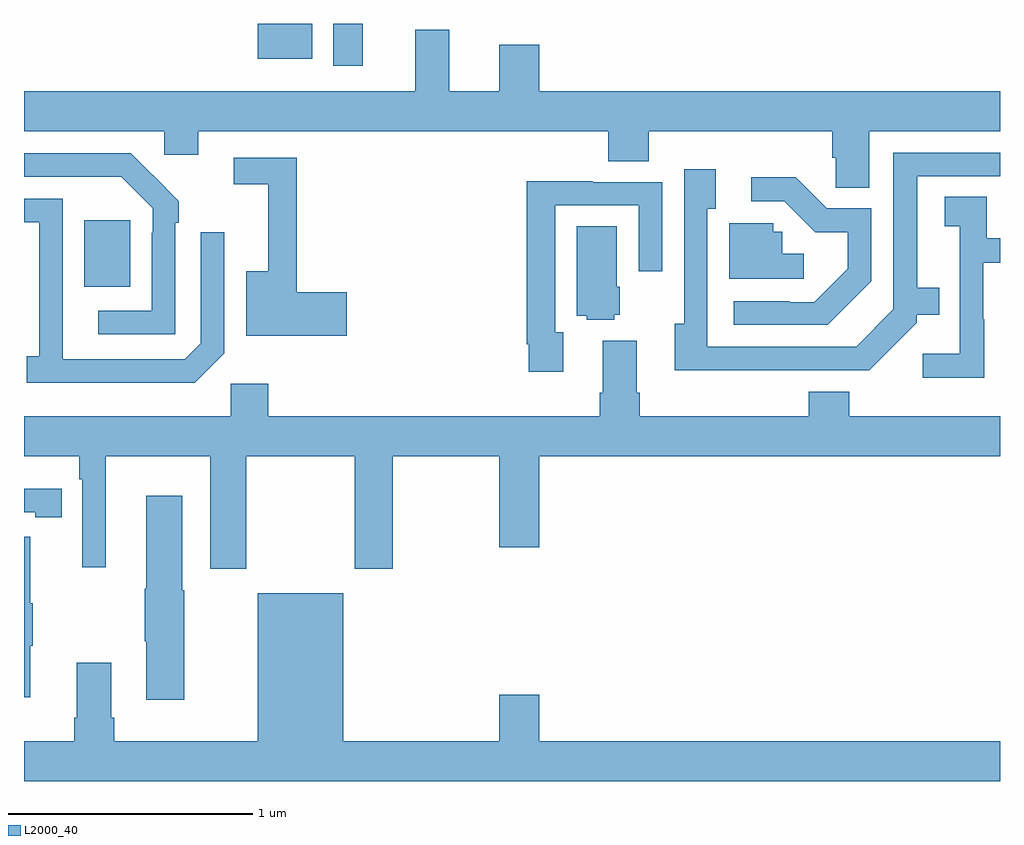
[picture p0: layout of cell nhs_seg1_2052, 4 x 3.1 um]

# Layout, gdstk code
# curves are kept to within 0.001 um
import gdstk
lib = gdstk.Library(unit=1e-6, precision=1e-09)
def R(c, l, rs):  # rectangles x0, y0, x1, y1
    for r in rs: c.add(gdstk.rectangle(r[:2], r[2:], *l))
def P(c, l, *ps):  # polygons
    for p in ps: c.add(gdstk.Polygon(p, *l))
L2000_40 = (2000, 40)

nhs_seg1_2052 = lib.new_cell('nhs_seg1_2052')
R(nhs_seg1_2052, L2000_40, [(223.247,523.121,223.435,523.395), (224.267,524.028,224.389,524.199), (223.958,524.057,224.182,524.199)])
P(nhs_seg1_2052, L2000_40, [(226.465,523.76),(227,523.76),(227,523.924),(225.112,523.924),(225.112,524.113),(224.948,524.113),(224.948,523.924),(224.743,523.924),(224.743,524.176),(224.603,524.176),(224.603,523.924),(223,523.924),(223,523.76),(223.575,523.76),(223.575,523.662),(223.714,523.662),(223.714,523.76),(225.395,523.76),(225.395,523.636),(225.56,523.636),(225.56,523.76),(226.313,523.76),(226.313,523.65),(226.327,523.65),(226.327,523.528),(226.465,523.528)],
  [(226.133,522.78),(226.464,522.78),(226.659,522.975),(226.659,523.007),(226.751,523.007),(226.751,523.117),(226.66,523.117),(226.66,523.575),(227,523.575),(227,523.671),(226.563,523.671),(226.563,523.029),(226.41,522.876),(225.801,522.876),(225.801,523.442),(225.835,523.442),(225.835,523.603),(225.705,523.603),(225.705,522.97),(225.668,522.97),(225.668,522.779)],
  [(223.62,523.385),(223.635,523.385),(223.635,523.473),(223.438,523.668),(223,523.668),(223,523.572),(223.399,523.572),(223.527,523.443),(223.527,523.343),(223.524,523.343),(223.524,523.023),(223.305,523.023),(223.305,522.927),(223.62,522.927)],
  [(224.323,523.1),(224.117,523.1),(224.117,523.65),(223.86,523.65),(223.86,523.542),(224,523.542),(224,523.186),(223.91,523.186),(223.91,522.922),(224.323,522.922)],
  [(226.473,523.145),(226.473,523.443),(226.29,523.443),(226.162,523.571),(225.981,523.571),(225.981,523.473),(226.116,523.473),(226.243,523.346),(226.376,523.346),(226.376,523.196),(226.239,523.059),(226.139,523.059),(226.139,523.062),(225.909,523.062),(225.909,522.966),(226.294,522.966)],
  [(225.211,522.935),(225.177,522.935),(225.177,523.455),(225.519,523.455),(225.519,523.185),(225.615,523.185),(225.615,523.551),(225.331,523.551),(225.331,523.555),(225.061,523.555),(225.061,522.886),(225.069,522.886),(225.069,522.774),(225.211,522.774)],
  [(226.935,522.989),(226.932,522.989),(226.932,523.221),(227,523.221),(227,523.32),(226.945,523.32),(226.945,523.49),(226.773,523.49),(226.773,523.369),(226.836,523.369),(226.836,522.847),(226.683,522.847),(226.683,522.749),(226.935,522.749)],
  [(223.821,522.849),(223.821,523.345),(223.725,523.345),(223.725,522.891),(223.659,522.825),(223.159,522.825),(223.158,523.482),(223,523.482),(223,523.386),(223.062,523.386),(223.062,522.838),(223.011,522.838),(223.011,522.728),(223.7,522.728)],
  [(226.195,523.258),(226.107,523.258),(226.107,523.347),(226.071,523.347),(226.071,523.383),(225.89,523.383),(225.89,523.155),(226.195,523.155)],
  [(225.42,523.008),(225.442,523.008),(225.442,523.122),(225.43,523.122),(225.43,523.37),(225.266,523.37),(225.266,523.004),(225.306,523.004),(225.306,522.986),(225.42,522.986)],
  [(223.911,522.428),(224.356,522.428),(224.356,521.967),(224.511,521.967),(224.511,522.428),(224.948,522.428),(224.948,522.054),(225.112,522.054),(225.112,522.428),(227,522.428),(227,522.592),(226.382,522.592),(226.382,522.691),(226.217,522.691),(226.217,522.592),(225.524,522.592),(225.524,522.688),(225.511,522.688),(225.511,522.901),(225.371,522.901),(225.371,522.688),(225.359,522.688),(225.359,522.592),(224,522.592),(224,522.724),(223.848,522.724),(223.848,522.592),(223,522.592),(223,522.428),(223.226,522.428),(223.226,522.332),(223.239,522.332),(223.239,521.973),(223.336,521.973),(223.336,522.428),(223.763,522.428),(223.763,521.967),(223.911,521.967)],
  [(223.154,522.294),(223.046,522.294),(223.046,522.295),(223,522.295),(223,522.198),(223.046,522.198),(223.046,522.178),(223.154,522.178)],
  [(223.656,521.879),(223.648,521.879),(223.648,522.265),(223.502,522.265),(223.502,521.885),(223.495,521.885),(223.495,521.668),(223.502,521.668),(223.502,521.43),(223.656,521.43)],
  [(223.025,521.651),(223.036,521.651),(223.036,521.825),(223.025,521.825),(223.025,522.097),(223,522.097),(223,521.439),(223.025,521.439)],
  [(227,521.26),(225.112,521.26),(225.112,521.449),(224.948,521.449),(224.948,521.26),(224.308,521.26),(224.308,521.866),(223.958,521.866),(223.958,521.26),(223.37,521.26),(223.37,521.356),(223.357,521.356),(223.357,521.581),(223.217,521.581),(223.217,521.356),(223.205,521.356),(223.205,521.26),(223,521.26),(223,521.096),(227,521.096)])

lib.write_gds('nhs_seg1_2052.gds')
